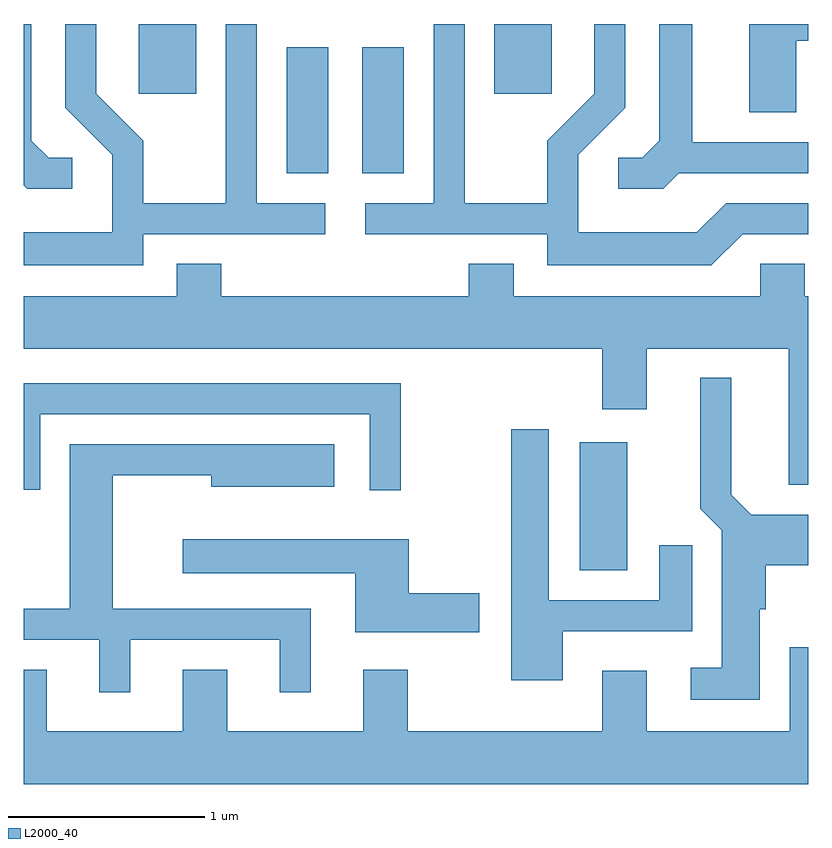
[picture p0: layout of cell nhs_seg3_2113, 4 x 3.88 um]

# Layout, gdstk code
import gdstk
lib = gdstk.Library(unit=1e-6, precision=1e-09)
def R(c, l, rs):  # rectangles x0, y0, x1, y1
    for r in rs: c.add(gdstk.rectangle(r[:2], r[2:], *l))
def P(c, l, *ps):  # polygons
    for p in ps: c.add(gdstk.Polygon(p, *l))
L2000_40 = (2000, 40)

nhs_seg3_2113 = lib.new_cell('nhs_seg3_2113')
R(nhs_seg3_2113, L2000_40, [(250.446,1127.106,250.689,1127.759), (248.951,1129.131,249.164,1129.774), (249.336,1129.131,249.549,1129.774), (248.196,1129.536,248.489,1129.892), (250.011,1129.536,250.304,1129.892)])
P(nhs_seg3_2113, L2000_40, [(247.858,1129.209),(247.737,1129.209),(247.649,1129.297),(247.649,1129.892),(247.611,1129.892),(247.611,1129.069),(247.629,1129.051),(247.858,1129.051)],
  [(251.549,1129.806),(251.611,1129.806),(251.611,1129.892),(251.311,1129.892),(251.311,1129.441),(251.549,1129.441)],
  [(251.277,1128.821),(251.611,1128.821),(251.611,1128.979),(251.194,1128.979),(251.044,1128.829),(250.439,1128.829),(250.439,1129.224),(250.679,1129.464),(250.679,1129.892),(250.521,1129.892),(250.521,1129.537),(250.281,1129.297),(250.281,1128.979),(249.859,1128.979),(249.859,1129.892),(249.701,1129.892),(249.701,1128.979),(249.353,1128.979),(249.353,1128.821),(250.281,1128.821),(250.281,1128.661),(251.117,1128.661)],
  [(248.219,1128.821),(249.148,1128.821),(249.148,1128.979),(248.799,1128.979),(248.799,1129.892),(248.641,1129.892),(248.641,1128.979),(248.219,1128.979),(248.219,1129.297),(247.979,1129.537),(247.979,1129.892),(247.821,1129.892),(247.821,1129.464),(248.061,1129.224),(248.061,1128.829),(247.611,1128.829),(247.611,1128.661),(248.219,1128.661)],
  [(250.952,1129.131),(251.611,1129.131),(251.611,1129.289),(251.019,1129.289),(251.019,1129.892),(250.851,1129.892),(250.851,1129.297),(250.764,1129.209),(250.643,1129.209),(250.643,1129.051),(250.872,1129.051)],
  [(251.611,1128.504),(251.594,1128.504),(251.594,1128.669),(251.366,1128.669),(251.366,1128.504),(250.109,1128.504),(250.109,1128.669),(249.881,1128.669),(249.881,1128.504),(248.619,1128.504),(248.619,1128.669),(248.391,1128.669),(248.391,1128.504),(247.611,1128.504),(247.611,1128.236),(250.561,1128.236),(250.561,1127.926),(250.789,1127.926),(250.789,1128.236),(251.511,1128.236),(251.511,1127.541),(251.611,1127.541)],
  [(251.364,1126.906),(251.394,1126.906),(251.394,1127.131),(251.611,1127.131),(251.611,1127.389),(251.322,1127.389),(251.219,1127.492),(251.219,1128.088),(251.061,1128.088),(251.061,1127.419),(251.171,1127.309),(251.171,1126.609),(251.013,1126.609),(251.013,1126.446),(251.364,1126.446)],
  [(249.534,1128.059),(247.611,1128.059),(247.611,1127.516),(247.694,1127.516),(247.694,1127.901),(249.376,1127.901),(249.376,1127.513),(249.534,1127.513)],
  [(250.359,1126.796),(251.019,1126.796),(251.019,1127.233),(250.851,1127.233),(250.851,1126.954),(250.289,1126.954),(250.289,1127.824),(250.096,1127.824),(250.096,1126.546),(250.359,1126.546)],
  [(248.154,1126.751),(248.916,1126.751),(248.916,1126.483),(249.074,1126.483),(249.074,1126.909),(248.064,1126.909),(248.064,1127.591),(248.566,1127.591),(248.566,1127.531),(249.194,1127.531),(249.194,1127.749),(247.846,1127.749),(247.846,1126.909),(247.611,1126.909),(247.611,1126.751),(247.996,1126.751),(247.996,1126.483),(248.154,1126.483)],
  [(249.934,1126.989),(249.574,1126.989),(249.574,1127.264),(248.421,1127.264),(248.421,1127.091),(249.301,1127.091),(249.301,1126.791),(249.934,1126.791)],
  [(251.611,1126.713),(251.516,1126.713),(251.516,1126.284),(250.789,1126.284),(250.789,1126.594),(250.561,1126.594),(250.561,1126.284),(249.569,1126.284),(249.569,1126.599),(249.341,1126.599),(249.341,1126.284),(248.649,1126.284),(248.649,1126.599),(248.421,1126.599),(248.421,1126.284),(247.729,1126.284),(247.729,1126.599),(247.611,1126.599),(247.611,1126.016),(251.611,1126.016)])

lib.write_gds('nhs_seg3_2113.gds')
